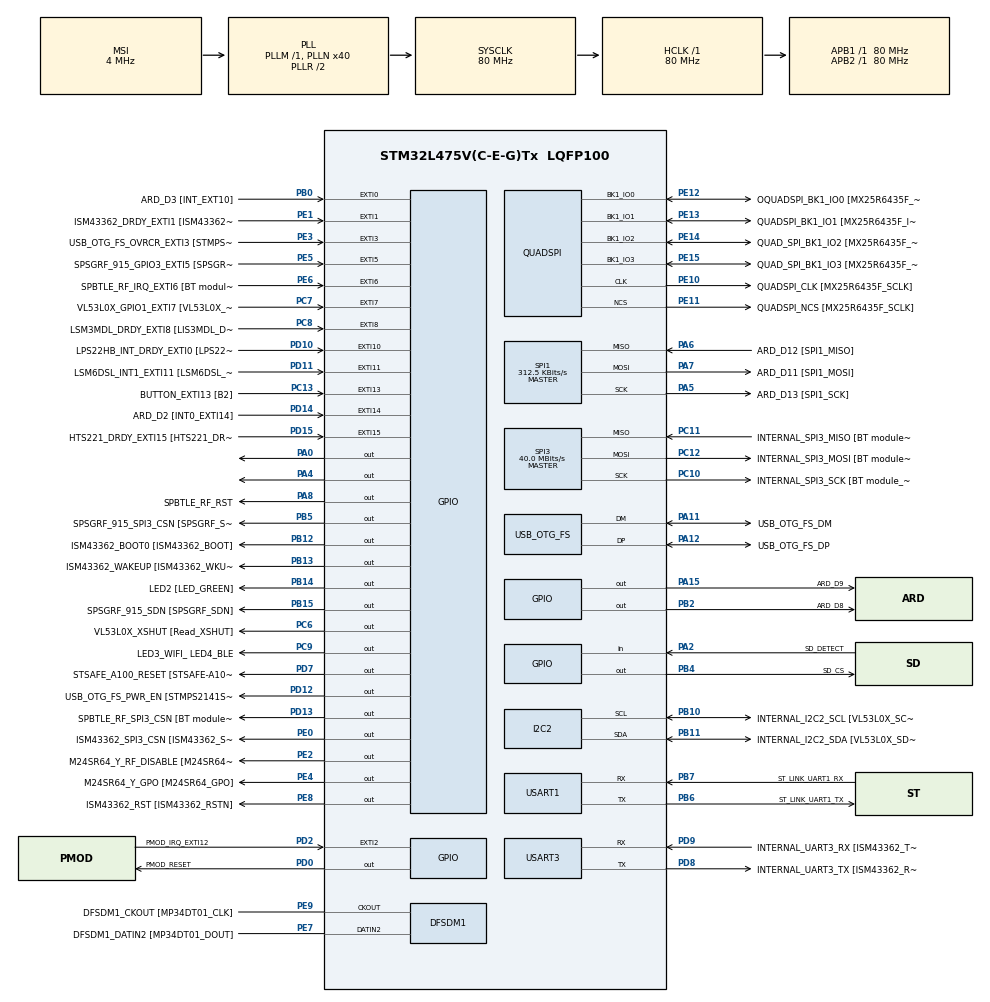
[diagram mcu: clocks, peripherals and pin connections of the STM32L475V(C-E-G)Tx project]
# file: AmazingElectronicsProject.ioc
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I2C2.Timing=0x10909CEC
Mcu.Family=STM32L4
Mcu.Name=STM32L475V(C-E-G)Tx
Mcu.Package=LQFP100
NVIC.EXTI15_10_IRQn=true\:0\:0\:false\:false\:true\:true\:true
NVIC.EXTI9_5_IRQn=true\:0\:0\:false\:false\:true\:true\:true
NVIC.PriorityGroup=NVIC_PRIORITYGROUP_4
PA0.Signal=GPIO_Output
PA1.GPIO_Label=ARD_D0 [UART4_RX]
PA1.Signal=UART4_RX
PA10.GPIO_Label=USB_OTG_FS_ID
PA10.Signal=USB_OTG_FS_ID
PA11.GPIO_Label=USB_OTG_FS_DM
PA11.Mode=Device_Only
PA11.Signal=USB_OTG_FS_DM
PA12.GPIO_Label=USB_OTG_FS_DP
PA12.Mode=Device_Only
PA12.Signal=USB_OTG_FS_DP
PA13\ (JTMS-SWDIO).GPIO_Label=SYS_JTMS_SWDIO
PA13\ (JTMS-SWDIO).Mode=Serial_Wire
PA13\ (JTMS-SWDIO).Signal=SYS_JTMS-SWDIO
PA14\ (JTCK-SWCLK).GPIO_Label=SYS_JTCK_SWCLK
PA14\ (JTCK-SWCLK).Mode=Serial_Wire
PA14\ (JTCK-SWCLK).Signal=SYS_JTCK-SWCLK
PA15\ (JTDI).GPIO_Label=ARD_D9
PA15\ (JTDI).Signal=GPIO_Output
PA2.GPIO_Label=SD_DETECT
PA2.Signal=GPIO_Input
PA3.GPIO_Label=ARD_D4
PA3.Signal=S_TIM2_CH4
PA4.Signal=GPIO_Output
PA5.GPIO_Label=ARD_D13 [SPI1_SCK]
PA5.Mode=Full_Duplex_Master
PA5.Signal=SPI1_SCK
PA6.GPIO_Label=ARD_D12 [SPI1_MISO]
PA6.Mode=Full_Duplex_Master
PA6.Signal=SPI1_MISO
PA7.GPIO_Label=ARD_D11 [SPI1_MOSI]
PA7.Mode=Full_Duplex_Master
PA7.Signal=SPI1_MOSI
PA8.GPIO_Label=SPBTLE_RF_RST
PA8.Signal=GPIO_Output
PA9.GPIO_Label=USB_OTG_FS_VBUS [STMPS2141STR_OUT]
PA9.Signal=USB_OTG_FS_VBUS
PB0.GPIO_Label=ARD_D3 [INT_EXT10]
PB0.Signal=GPXTI0
PB1.GPIO_Label=ARD_D6 [ADC1_IN6]
PB1.Signal=ADCx_IN16
PB10.GPIO_Label=INTERNAL_I2C2_SCL [VL53L0X_SCL]
PB10.GPIO_Pu=GPIO_PULLUP
PB10.Mode=I2C
PB10.Signal=I2C2_SCL
PB11.GPIO_Label=INTERNAL_I2C2_SDA [VL53L0X_SDA]
PB11.GPIO_Pu=GPIO_PULLUP
PB11.Mode=I2C
PB11.Signal=I2C2_SDA
PB12.GPIO_Label=ISM43362_BOOT0 [ISM43362_BOOT]
PB12.Signal=GPIO_Output
PB13.GPIO_Label=ISM43362_WAKEUP [ISM43362_WKUP]
PB13.Signal=GPIO_Output
PB14.GPIO_Label=LED2 [LED_GREEN]
PB14.Signal=GPIO_Output
PB15.GPIO_Label=SPSGRF_915_SDN [SPSGRF_SDN]
PB15.Signal=GPIO_Output
PB2.GPIO_Label=ARD_D8
PB2.Signal=GPIO_Output
PB3\ (JTDO-TRACESWO).GPIO_Label=SYS_JTD0_SWO
PB3\ (JTDO-TRACESWO).Signal=SYS_JTDO-SWO
PB4\ (NJTRST).GPIO_Label=SD_CS
PB4\ (NJTRST).Signal=GPIO_Output
PB5.GPIO_Label=SPSGRF_915_SPI3_CSN [SPSGRF_SPI_CS]
PB5.PinState=GPIO_PIN_SET
PB5.Signal=GPIO_Output
PB6.GPIO_Label=ST_LINK_UART1_TX
PB6.Mode=Asynchronous
PB6.Signal=USART1_TX
PB7.GPIO_Label=ST_LINK_UART1_RX
PB7.Mode=Asynchronous
PB7.Signal=USART1_RX
PB8.GPIO_Label=ARD_D15 [I2C1_SCL]
PB8.Signal=I2C1_SCL
PB9.GPIO_Label=ARD_D14 [I2C1_SDA]
PB9.Signal=I2C1_SDA
PC0.GPIO_Label=ARD_A5 [ADC]
PC0.Signal=ADCx_IN1
PC1.GPIO_Label=ARD_A4 [ADC]
PC1.Signal=ADCx_IN2
PC10.GPIO_Label=INTERNAL_SPI3_SCK [BT module_SPI_SCLK] [ISM43362_SCK]
PC10.Mode=Full_Duplex_Master
PC10.Signal=SPI3_SCK
PC11.GPIO_Label=INTERNAL_SPI3_MISO [BT module_SPI_MISO] [ISM43362_MISO]
PC11.Mode=Full_Duplex_Master
PC11.Signal=SPI3_MISO
PC12.GPIO_Label=INTERNAL_SPI3_MOSI [BT module_SPI_MOSI] [ISM43362_MOSI]
PC12.Mode=Full_Duplex_Master
PC12.Signal=SPI3_MOSI
PC13.GPIO_Label=BUTTON_EXTI13 [B2]
PC13.GPIO_ModeDefaultEXTI=GPIO_MODE_IT_FALLING
PC13.Signal=GPXTI13
PC14-OSC32_IN\ (PC14).Mode=LSE-External-Oscillator
PC14-OSC32_IN\ (PC14).Signal=RCC_OSC32_IN
PC15-OSC32_OUT\ (PC15).Mode=LSE-External-Oscillator
PC15-OSC32_OUT\ (PC15).Signal=RCC_OSC32_OUT
PC2.GPIO_Label=ARD_A3 [ADC]
PC2.Signal=ADCx_IN3
PC3.GPIO_Label=ARD_A2 [ADC]
PC3.Signal=ADCx_IN4
PC4.GPIO_Label=ARD_A1 [ADC]
PC4.Signal=ADCx_IN13
PC5.GPIO_Label=ARD_A0 [ADC]
PC5.Signal=ADCx_IN14
PC6.GPIO_Label=VL53L0X_XSHUT [Read_XSHUT]
PC6.Signal=GPIO_Output
PC7.GPIO_Label=VL53L0X_GPIO1_EXTI7 [VL53L0X_GPIO1]
PC7.Signal=GPXTI7
PC8.GPIO_Label=LSM3MDL_DRDY_EXTI8 [LIS3MDL_DRDY]
PC8.Signal=GPXTI8
PC9.GPIO_Label=LED3_WIFI_ LED4_BLE
PC9.Signal=GPIO_Output
PD0.GPIO_Label=PMOD_RESET
PD0.Signal=GPIO_Output
PD1.GPIO_Label=PMOD_SPI2_SCK
PD1.Signal=SPI2_SCK
PD10.GPIO_Label=LPS22HB_INT_DRDY_EXTI0 [LPS22HB_INT_DRDY] 
PD10.Signal=GPXTI10
PD11.GPIO_Label=LSM6DSL_INT1_EXTI11 [LSM6DSL_INT1]
PD11.Signal=GPXTI11
PD12.GPIO_Label=USB_OTG_FS_PWR_EN [STMPS2141STR_EN]
PD12.Signal=GPIO_Output
PD13.GPIO_Label=SPBTLE_RF_SPI3_CSN [BT module_SPI_CS]
PD13.PinState=GPIO_PIN_SET
PD13.Signal=GPIO_Output
PD14.GPIO_Label=ARD_D2 [INT0_EXTI14]
PD14.Signal=GPXTI14
PD15.GPIO_Label=HTS221_DRDY_EXTI15 [HTS221_DRDY]
PD15.Signal=GPXTI15
PD2.GPIO_Label=PMOD_IRQ_EXTI12
PD2.Signal=GPXTI2
PD3.GPIO_Label=PMOD_UART2_CTS
PD3.Signal=USART2_CTS
PD4.GPIO_Label=PMOD_UART2_RTS
PD4.Signal=USART2_RTS
PD5.GPIO_Label=PMOD_UART2_TX
PD5.Signal=USART2_TX
PD6.GPIO_Label=PMOD_UART2_RX
PD6.Signal=USART2_RX
PD7.GPIO_Label=STSAFE_A100_RESET [STSAFE-A100_RESET]
PD7.Signal=GPIO_Output
PD8.GPIO_Label=INTERNAL_UART3_TX [ISM43362_RX]
PD8.Mode=Asynchronous
PD8.Signal=USART3_TX
PD9.GPIO_Label=INTERNAL_UART3_RX [ISM43362_TX]
PD9.Mode=Asynchronous
PD9.Signal=USART3_RX
PE0.GPIO_Label=ISM43362_SPI3_CSN [ISM43362_SSN]
PE0.PinState=GPIO_PIN_SET
PE0.Signal=GPIO_Output
PE1.GPIO_Label=ISM43362_DRDY_EXTI1 [ISM43362_DATARDY]
PE1.Signal=GPXTI1
PE10.GPIO_Label=QUADSPI_CLK [MX25R6435F_SCLK]
PE10.Mode=Single Bank
PE10.Signal=QUADSPI_CLK
PE11.GPIO_Label=QUADSPI_NCS [MX25R6435F_SCLK]
PE11.Mode=Single Bank
PE11.Signal=QUADSPI_NCS
PE12.GPIO_Label=OQUADSPI_BK1_IO0 [MX25R6435F_IO0]
PE12.Mode=Single Bank
PE12.Signal=QUADSPI_BK1_IO0
PE13.GPIO_Label=QUADSPI_BK1_IO1 [MX25R6435F_IO1]
PE13.Mode=Single Bank
PE13.Signal=QUADSPI_BK1_IO1
PE14.GPIO_Label=QUAD_SPI_BK1_IO2 [MX25R6435F_IO2]
PE14.Mode=Single Bank
PE14.Signal=QUADSPI_BK1_IO2
PE15.GPIO_Label=QUAD_SPI_BK1_IO3 [MX25R6435F_IO3]
PE15.Mode=Single Bank
PE15.Signal=QUADSPI_BK1_IO3
PE2.GPIO_Label=M24SR64_Y_RF_DISABLE [M24SR64_RFDIS]
PE2.Signal=GPIO_Output
PE3.GPIO_Label=USB_OTG_FS_OVRCR_EXTI3 [STMPS2141STR_FAULT]
PE3.Signal=GPXTI3
PE4.GPIO_Label=M24SR64_Y_GPO [M24SR64_GPO]
PE4.Signal=GPIO_Output
PE5.GPIO_Label=SPSGRF_915_GPIO3_EXTI5 [SPSGRF_GPIO_3]
PE5.Signal=GPXTI5
PE6.GPIO_Label=SPBTLE_RF_IRQ_EXTI6 [BT module_SPI_IRQ]
PE6.Signal=GPXTI6
PE7.GPIO_Label=DFSDM1_DATIN2 [MP34DT01_DOUT]
PE7.Signal=S_DATAIN2DFSDM1
PE8.GPIO_Label=ISM43362_RST [ISM43362_RSTN]
PE8.Signal=GPIO_Output
PE9.GPIO_Label=DFSDM1_CKOUT [MP34DT01_CLK]
PE9.Signal=S_CKOUTDFSDM1
ProjectManager.HeapSize=0x200
ProjectManager.StackSize=0x400
ProjectManager.TargetToolchain=STM32CubeIDE
QUADSPI.ClockPrescaler=2
QUADSPI.FifoThreshold=4
QUADSPI.FlashSize=23
QUADSPI.SampleShifting=QSPI_SAMPLE_SHIFTING_HALFCYCLE
RCC.ADCFreq_Value=48000000
RCC.AHBFreq_Value=80000000
RCC.APB1Freq_Value=80000000
RCC.APB1TimFreq_Value=80000000
RCC.APB2Freq_Value=80000000
RCC.APB2TimFreq_Value=80000000
RCC.CortexFreq_Value=80000000
RCC.HCLKFreq_Value=80000000
RCC.HSE_VALUE=8000000
RCC.HSI_VALUE=16000000
RCC.MSI_VALUE=4000000
RCC.PLLN=40
RCC.PLLSAI1N=24
RCC.SYSCLKFreq_VALUE=80000000
RCC.SYSCLKSource=RCC_SYSCLKSOURCE_PLLCLK
RCC.USBFreq_Value=48000000
RCC.VCOOutputFreq_Value=160000000
SH.ADCx_IN1.0=ADC1_IN1
SH.ADCx_IN13.0=ADC1_IN13
SH.ADCx_IN14.0=ADC1_IN14
SH.ADCx_IN16.0=ADC1_IN16
SH.ADCx_IN2.0=ADC1_IN2
SH.ADCx_IN3.0=ADC1_IN3
SH.ADCx_IN4.0=ADC1_IN4
SH.S_CKOUTDFSDM1.0=DFSDM1_CKOUT,CKOUT
SH.S_CKOUTDFSDM1.1=DFSDM1_CKOUT,PDM_SPI_Input_from_ch12_and_Internal_Clock
SH.S_DATAIN2DFSDM1.0=DFSDM1_DATIN2,PDM_SPI_Input_from_ch12_and_Internal_Clock
SH.S_TIM2_CH4.0=TIM2_CH4
SPI1.BaudRatePrescaler=SPI_BAUDRATEPRESCALER_256
SPI1.CalculateBaudRate=312.5 KBits/s
SPI1.DataSize=SPI_DATASIZE_8BIT
SPI1.Direction=SPI_DIRECTION_2LINES
SPI1.Mode=SPI_MODE_MASTER
SPI1.VirtualType=VM_MASTER
SPI3.BaudRatePrescaler=SPI_BAUDRATEPRESCALER_2
SPI3.CalculateBaudRate=40.0 MBits/s
SPI3.DataSize=SPI_DATASIZE_4BIT
SPI3.Direction=SPI_DIRECTION_2LINES
SPI3.Mode=SPI_MODE_MASTER
SPI3.VirtualType=VM_MASTER
USART1.VirtualMode-Asynchronous=VM_ASYNC
USART3.VirtualMode-Asynchronous=VM_ASYNC
USB_OTG_FS.VirtualMode=Device_Only
VP_FATFS_VS_Generic.Mode=User_defined
board=B-L475E-IOT01A1

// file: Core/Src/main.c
/* USER CODE BEGIN Header */
/**
  ******************************************************************************
  * @file           : main.c
  * @brief          : Main program body
  ******************************************************************************
  * @attention
  *
  * <h2><center>&copy; Copyright (c) 2021 STMicroelectronics.
  * All rights reserved.</center></h2>
  *
  * This software component is licensed by ST under BSD 3-Clause license,
  * the "License"; You may not use this file except in compliance with the
  * License. You may obtain a copy of the License at:
  *                        opensource.org/licenses/BSD-3-Clause
  *
  ******************************************************************************
  */
/* USER CODE END Header */
#include "main.h"
#include "fatfs.h"

/* USER CODE BEGIN Includes */
#include "stm32l475e_iot01.h"
#include <stdio.h>
#include "game.h"
/* USER CODE END Includes */

/* USER CODE BEGIN PM */
#ifdef __GNUC__
/* With GCC/RAISONANCE, small msg_info (option LD Linker->Libraries->Small msg_info
   set to 'Yes') calls __io_putchar() */
#define PUTCHAR_PROTOTYPE int __io_putchar(int ch)
#define GETCHAR_PROTOTYPE int __io_getchar(void)
#else
#define PUTCHAR_PROTOTYPE int fputc(int ch, FILE *f)
#define GETCHAR_PROTOTYPE int fgetc(FILE *f)
#endif /* __GNUC__ */
/* USER CODE END PM */

DFSDM_Channel_HandleTypeDef hdfsdm1_channel1;

I2C_HandleTypeDef hi2c2;

QSPI_HandleTypeDef hqspi;

SPI_HandleTypeDef hspi1;
SPI_HandleTypeDef hspi3;

UART_HandleTypeDef huart1;
UART_HandleTypeDef huart3;

PCD_HandleTypeDef hpcd_USB_OTG_FS;

void SystemClock_Config(void);
static void MX_GPIO_Init(void);
static void MX_DFSDM1_Init(void);
static void MX_I2C2_Init(void);
static void MX_QUADSPI_Init(void);
static void MX_SPI3_Init(void);
static void MX_USART1_UART_Init(void);
static void MX_USART3_UART_Init(void);
static void MX_USB_OTG_FS_PCD_Init(void);
static void MX_SPI1_Init(void);

int main(void)
{

  /* MCU Configuration--------------------------------------------------------*/

  /* Reset of all peripherals, Initializes the Flash interface and the Systick. */
  HAL_Init();

  /* Configure the system clock */
  SystemClock_Config();

  /* Initialize all configured peripherals */
  MX_GPIO_Init();
  MX_DFSDM1_Init();
  MX_I2C2_Init();
  MX_QUADSPI_Init();
  MX_SPI3_Init();
  MX_USART1_UART_Init();
  MX_USART3_UART_Init();
  MX_USB_OTG_FS_PCD_Init();
  MX_FATFS_Init();
  MX_SPI1_Init();
  /* USER CODE BEGIN 2 */

  printf("\e[1;1H\e[2J");
/*
  printf("\r\n~ SD card demo by kiwih ~\r\n\r\n");

    HAL_Delay(3000); //a short delay is important to let the SD card settle

    //some variables for FatFs
    FATFS FatFs; 	//Fatfs handle
    FIL fil; 		//File handle
    FRESULT fres; //Result after operations

    //Open the file system
    fres = f_mount(&FatFs, "", 1); //1=mount now
    if (fres != FR_OK) {
  	printf("f_mount error (%i)\r\n", fres);
  	while(1);
    }

    //Let's get some statistics from the SD card
    DWORD free_clusters, free_sectors, total_sectors;

    FATFS* getFreeFs;

    fres = f_getfree("", &free_clusters, &getFreeFs);
    if (fres != FR_OK) {
  	printf("f_getfree error (%i)\r\n", fres);
  	while(1);
    }

    //Formula comes from ChaN's documentation
    total_sectors = (getFreeFs->n_fatent - 2) * getFreeFs->csize;
    free_sectors = free_clusters * getFreeFs->csize;

    printf("SD card stats:\r\n%10lu KiB total drive space.\r\n%10lu KiB available.\r\n", total_sectors / 2, free_sectors / 2);

    //Now let's try to open file "test.txt"
    fres = f_open(&fil, "test.txt", FA_READ);
    if (fres != FR_OK) {
  	printf("f_open error (%i)\r\n" ,fres);
  	while(1);
    }
    printf("I was able to open 'test.txt' for reading!\r\n");

    //Read 30 bytes from "test.txt" on the SD card
    BYTE readBuf[30];

    //We can either use f_read OR f_gets to get data out of files
    //f_gets is a wrapper on f_read that does some string formatting for us
    TCHAR* rres = f_gets((TCHAR*)readBuf, 30, &fil);
    if(rres != 0) {
  	printf("Read string from 'test.txt' contents: %s\r\n", readBuf);
    } else {
  	printf("f_gets error (%i)\r\n", fres);
    }

    //Be a tidy kiwi - don't forget to close your file!
    f_close(&fil);
*/

  if(initAllDevices() != 0){
	  printf("\rInitialization failure!\n");
  }

  runGame();

  /* USER CODE END 2 */

  /* Infinite loop */
  while (1)
  {

  }
}

void SystemClock_Config(void)
{
  RCC_OscInitTypeDef RCC_OscInitStruct = {0};
  RCC_ClkInitTypeDef RCC_ClkInitStruct = {0};

  /** Configure the main internal regulator output voltage
  */
  if (HAL_PWREx_ControlVoltageScaling(PWR_REGULATOR_VOLTAGE_SCALE1) != HAL_OK)
  {
    Error_Handler();
  }
  /** Configure LSE Drive Capability
  */
  HAL_PWR_EnableBkUpAccess();
  __HAL_RCC_LSEDRIVE_CONFIG(RCC_LSEDRIVE_LOW);
  /** Initializes the RCC Oscillators according to the specified parameters
  * in the RCC_OscInitTypeDef structure.
  */
  RCC_OscInitStruct.OscillatorType = RCC_OSCILLATORTYPE_LSE|RCC_OSCILLATORTYPE_MSI;
  RCC_OscInitStruct.LSEState = RCC_LSE_ON;
  RCC_OscInitStruct.MSIState = RCC_MSI_ON;
  RCC_OscInitStruct.MSICalibrationValue = 0;
  RCC_OscInitStruct.MSIClockRange = RCC_MSIRANGE_6;
  RCC_OscInitStruct.PLL.PLLState = RCC_PLL_ON;
  RCC_OscInitStruct.PLL.PLLSource = RCC_PLLSOURCE_MSI;
  RCC_OscInitStruct.PLL.PLLM = 1;
  RCC_OscInitStruct.PLL.PLLN = 40;
  RCC_OscInitStruct.PLL.PLLP = RCC_PLLP_DIV7;
  RCC_OscInitStruct.PLL.PLLQ = RCC_PLLQ_DIV2;
  RCC_OscInitStruct.PLL.PLLR = RCC_PLLR_DIV2;
  if (HAL_RCC_OscConfig(&RCC_OscInitStruct) != HAL_OK)
  {
    Error_Handler();
  }
  /** Initializes the CPU, AHB and APB buses clocks
  */
  RCC_ClkInitStruct.ClockType = RCC_CLOCKTYPE_HCLK|RCC_CLOCKTYPE_SYSCLK
                              |RCC_CLOCKTYPE_PCLK1|RCC_CLOCKTYPE_PCLK2;
  RCC_ClkInitStruct.SYSCLKSource = RCC_SYSCLKSOURCE_PLLCLK;
  RCC_ClkInitStruct.AHBCLKDivider = RCC_SYSCLK_DIV1;
  RCC_ClkInitStruct.APB1CLKDivider = RCC_HCLK_DIV1;
  RCC_ClkInitStruct.APB2CLKDivider = RCC_HCLK_DIV1;

  if (HAL_RCC_ClockConfig(&RCC_ClkInitStruct, FLASH_LATENCY_4) != HAL_OK)
  {
    Error_Handler();
  }
  /** Enable MSI Auto calibration
  */
  HAL_RCCEx_EnableMSIPLLMode();
}

static void MX_DFSDM1_Init(void)
{

  hdfsdm1_channel1.Instance = DFSDM1_Channel1;
  hdfsdm1_channel1.Init.OutputClock.Activation = ENABLE;
  hdfsdm1_channel1.Init.OutputClock.Selection = DFSDM_CHANNEL_OUTPUT_CLOCK_SYSTEM;
  hdfsdm1_channel1.Init.OutputClock.Divider = 2;
  hdfsdm1_channel1.Init.Input.Multiplexer = DFSDM_CHANNEL_EXTERNAL_INPUTS;
  hdfsdm1_channel1.Init.Input.DataPacking = DFSDM_CHANNEL_STANDARD_MODE;
  hdfsdm1_channel1.Init.Input.Pins = DFSDM_CHANNEL_FOLLOWING_CHANNEL_PINS;
  hdfsdm1_channel1.Init.SerialInterface.Type = DFSDM_CHANNEL_SPI_RISING;
  hdfsdm1_channel1.Init.SerialInterface.SpiClock = DFSDM_CHANNEL_SPI_CLOCK_INTERNAL;
  hdfsdm1_channel1.Init.Awd.FilterOrder = DFSDM_CHANNEL_FASTSINC_ORDER;
  hdfsdm1_channel1.Init.Awd.Oversampling = 1;
  hdfsdm1_channel1.Init.Offset = 0;
  hdfsdm1_channel1.Init.RightBitShift = 0x00;
  if (HAL_DFSDM_ChannelInit(&hdfsdm1_channel1) != HAL_OK)
  {
    Error_Handler();
  }

}

static void MX_I2C2_Init(void)
{

  hi2c2.Instance = I2C2;
  hi2c2.Init.Timing = 0x10909CEC;
  hi2c2.Init.OwnAddress1 = 0;
  hi2c2.Init.AddressingMode = I2C_ADDRESSINGMODE_7BIT;
  hi2c2.Init.DualAddressMode = I2C_DUALADDRESS_DISABLE;
  hi2c2.Init.OwnAddress2 = 0;
  hi2c2.Init.OwnAddress2Masks = I2C_OA2_NOMASK;
  hi2c2.Init.GeneralCallMode = I2C_GENERALCALL_DISABLE;
  hi2c2.Init.NoStretchMode = I2C_NOSTRETCH_DISABLE;
  if (HAL_I2C_Init(&hi2c2) != HAL_OK)
  {
    Error_Handler();
  }
  /** Configure Analogue filter
  */
  if (HAL_I2CEx_ConfigAnalogFilter(&hi2c2, I2C_ANALOGFILTER_ENABLE) != HAL_OK)
  {
    Error_Handler();
  }
  /** Configure Digital filter
  */
  if (HAL_I2CEx_ConfigDigitalFilter(&hi2c2, 0) != HAL_OK)
  {
    Error_Handler();
  }

}

static void MX_QUADSPI_Init(void)
{

  /* QUADSPI parameter configuration*/
  hqspi.Instance = QUADSPI;
  hqspi.Init.ClockPrescaler = 2;
  hqspi.Init.FifoThreshold = 4;
  hqspi.Init.SampleShifting = QSPI_SAMPLE_SHIFTING_HALFCYCLE;
  hqspi.Init.FlashSize = 23;
  hqspi.Init.ChipSelectHighTime = QSPI_CS_HIGH_TIME_1_CYCLE;
  hqspi.Init.ClockMode = QSPI_CLOCK_MODE_0;
  if (HAL_QSPI_Init(&hqspi) != HAL_OK)
  {
    Error_Handler();
  }

}

static void MX_SPI1_Init(void)
{

  /* SPI1 parameter configuration*/
  hspi1.Instance = SPI1;
  hspi1.Init.Mode = SPI_MODE_MASTER;
  hspi1.Init.Direction = SPI_DIRECTION_2LINES;
  hspi1.Init.DataSize = SPI_DATASIZE_8BIT;
  hspi1.Init.CLKPolarity = SPI_POLARITY_LOW;
  hspi1.Init.CLKPhase = SPI_PHASE_1EDGE;
  hspi1.Init.NSS = SPI_NSS_SOFT;
  hspi1.Init.BaudRatePrescaler = SPI_BAUDRATEPRESCALER_256;
  hspi1.Init.FirstBit = SPI_FIRSTBIT_MSB;
  hspi1.Init.TIMode = SPI_TIMODE_DISABLE;
  hspi1.Init.CRCCalculation = SPI_CRCCALCULATION_DISABLE;
  hspi1.Init.CRCPolynomial = 7;
  hspi1.Init.CRCLength = SPI_CRC_LENGTH_DATASIZE;
  hspi1.Init.NSSPMode = SPI_NSS_PULSE_ENABLE;
  if (HAL_SPI_Init(&hspi1) != HAL_OK)
  {
    Error_Handler();
  }

}

static void MX_SPI3_Init(void)
{

  /* SPI3 parameter configuration*/
  hspi3.Instance = SPI3;
  hspi3.Init.Mode = SPI_MODE_MASTER;
  hspi3.Init.Direction = SPI_DIRECTION_2LINES;
  hspi3.Init.DataSize = SPI_DATASIZE_4BIT;
  hspi3.Init.CLKPolarity = SPI_POLARITY_LOW;
  hspi3.Init.CLKPhase = SPI_PHASE_1EDGE;
  hspi3.Init.NSS = SPI_NSS_SOFT;
  hspi3.Init.BaudRatePrescaler = SPI_BAUDRATEPRESCALER_2;
  hspi3.Init.FirstBit = SPI_FIRSTBIT_MSB;
  hspi3.Init.TIMode = SPI_TIMODE_DISABLE;
  hspi3.Init.CRCCalculation = SPI_CRCCALCULATION_DISABLE;
  hspi3.Init.CRCPolynomial = 7;
  hspi3.Init.CRCLength = SPI_CRC_LENGTH_DATASIZE;
  hspi3.Init.NSSPMode = SPI_NSS_PULSE_ENABLE;
  if (HAL_SPI_Init(&hspi3) != HAL_OK)
  {
    Error_Handler();
  }

}

static void MX_USART1_UART_Init(void)
{

  huart1.Instance = USART1;
  huart1.Init.BaudRate = 115200;
  huart1.Init.WordLength = UART_WORDLENGTH_8B;
  huart1.Init.StopBits = UART_STOPBITS_1;
  huart1.Init.Parity = UART_PARITY_NONE;
  huart1.Init.Mode = UART_MODE_TX_RX;
  huart1.Init.HwFlowCtl = UART_HWCONTROL_NONE;
  huart1.Init.OverSampling = UART_OVERSAMPLING_16;
  huart1.Init.OneBitSampling = UART_ONE_BIT_SAMPLE_DISABLE;
  huart1.AdvancedInit.AdvFeatureInit = UART_ADVFEATURE_NO_INIT;
  if (HAL_UART_Init(&huart1) != HAL_OK)
  {
    Error_Handler();
  }

}

static void MX_USART3_UART_Init(void)
{

  huart3.Instance = USART3;
  huart3.Init.BaudRate = 115200;
  huart3.Init.WordLength = UART_WORDLENGTH_8B;
  huart3.Init.StopBits = UART_STOPBITS_1;
  huart3.Init.Parity = UART_PARITY_NONE;
  huart3.Init.Mode = UART_MODE_TX_RX;
  huart3.Init.HwFlowCtl = UART_HWCONTROL_NONE;
  huart3.Init.OverSampling = UART_OVERSAMPLING_16;
  huart3.Init.OneBitSampling = UART_ONE_BIT_SAMPLE_DISABLE;
  huart3.AdvancedInit.AdvFeatureInit = UART_ADVFEATURE_NO_INIT;
  if (HAL_UART_Init(&huart3) != HAL_OK)
  {
    Error_Handler();
  }

}

static void MX_USB_OTG_FS_PCD_Init(void)
{

  hpcd_USB_OTG_FS.Instance = USB_OTG_FS;
  hpcd_USB_OTG_FS.Init.dev_endpoints = 6;
  hpcd_USB_OTG_FS.Init.speed = PCD_SPEED_FULL;
  hpcd_USB_OTG_FS.Init.phy_itface = PCD_PHY_EMBEDDED;
  hpcd_USB_OTG_FS.Init.Sof_enable = DISABLE;
  hpcd_USB_OTG_FS.Init.low_power_enable = DISABLE;
  hpcd_USB_OTG_FS.Init.lpm_enable = DISABLE;
  hpcd_USB_OTG_FS.Init.battery_charging_enable = DISABLE;
  hpcd_USB_OTG_FS.Init.use_dedicated_ep1 = DISABLE;
  hpcd_USB_OTG_FS.Init.vbus_sensing_enable = DISABLE;
  if (HAL_PCD_Init(&hpcd_USB_OTG_FS) != HAL_OK)
  {
    Error_Handler();
  }

}

static void MX_GPIO_Init(void)
{
  GPIO_InitTypeDef GPIO_InitStruct = {0};

  /* GPIO Ports Clock Enable */
  __HAL_RCC_GPIOE_CLK_ENABLE();
  __HAL_RCC_GPIOC_CLK_ENABLE();
  __HAL_RCC_GPIOA_CLK_ENABLE();
  __HAL_RCC_GPIOB_CLK_ENABLE();
  __HAL_RCC_GPIOD_CLK_ENABLE();

  /*Configure GPIO pin Output Level */
  HAL_GPIO_WritePin(GPIOE, M24SR64_Y_RF_DISABLE_Pin|M24SR64_Y_GPO_Pin|ISM43362_RST_Pin, GPIO_PIN_RESET);

  /*Configure GPIO pin Output Level */
  HAL_GPIO_WritePin(GPIOA, GPIO_PIN_0|GPIO_PIN_4|SPBTLE_RF_RST_Pin|ARD_D9_Pin, GPIO_PIN_RESET);

  /*Configure GPIO pin Output Level */
  HAL_GPIO_WritePin(GPIOB, ARD_D8_Pin|ISM43362_BOOT0_Pin|ISM43362_WAKEUP_Pin|LED2_Pin
                          |SPSGRF_915_SDN_Pin|SD_CS_Pin, GPIO_PIN_RESET);

  /*Configure GPIO pin Output Level */
  HAL_GPIO_WritePin(GPIOD, USB_OTG_FS_PWR_EN_Pin|PMOD_RESET_Pin|STSAFE_A100_RESET_Pin, GPIO_PIN_RESET);

  /*Configure GPIO pin Output Level */
  HAL_GPIO_WritePin(SPBTLE_RF_SPI3_CSN_GPIO_Port, SPBTLE_RF_SPI3_CSN_Pin, GPIO_PIN_SET);

  /*Configure GPIO pin Output Level */
  HAL_GPIO_WritePin(GPIOC, VL53L0X_XSHUT_Pin|LED3_WIFI__LED4_BLE_Pin, GPIO_PIN_RESET);

  /*Configure GPIO pin Output Level */
  HAL_GPIO_WritePin(SPSGRF_915_SPI3_CSN_GPIO_Port, SPSGRF_915_SPI3_CSN_Pin, GPIO_PIN_SET);

  /*Configure GPIO pin Output Level */
  HAL_GPIO_WritePin(ISM43362_SPI3_CSN_GPIO_Port, ISM43362_SPI3_CSN_Pin, GPIO_PIN_SET);

  /*Configure GPIO pins : M24SR64_Y_RF_DISABLE_Pin M24SR64_Y_GPO_Pin ISM43362_RST_Pin ISM43362_SPI3_CSN_Pin */
  GPIO_InitStruct.Pin = M24SR64_Y_RF_DISABLE_Pin|M24SR64_Y_GPO_Pin|ISM43362_RST_Pin|ISM43362_SPI3_CSN_Pin;
  GPIO_InitStruct.Mode = GPIO_MODE_OUTPUT_PP;
  GPIO_InitStruct.Pull = GPIO_NOPULL;
  GPIO_InitStruct.Speed = GPIO_SPEED_FREQ_LOW;
  HAL_GPIO_Init(GPIOE, &GPIO_InitStruct);

  /*Configure GPIO pins : USB_OTG_FS_OVRCR_EXTI3_Pin SPSGRF_915_GPIO3_EXTI5_Pin SPBTLE_RF_IRQ_EXTI6_Pin ISM43362_DRDY_EXTI1_Pin */
  GPIO_InitStruct.Pin = USB_OTG_FS_OVRCR_EXTI3_Pin|SPSGRF_915_GPIO3_EXTI5_Pin|SPBTLE_RF_IRQ_EXTI6_Pin|ISM43362_DRDY_EXTI1_Pin;
  GPIO_InitStruct.Mode = GPIO_MODE_IT_RISING;
  GPIO_InitStruct.Pull = GPIO_NOPULL;
  HAL_GPIO_Init(GPIOE, &GPIO_InitStruct);

  /*Configure GPIO pin : BUTTON_EXTI13_Pin */
  GPIO_InitStruct.Pin = BUTTON_EXTI13_Pin;
  GPIO_InitStruct.Mode = GPIO_MODE_IT_FALLING;
  GPIO_InitStruct.Pull = GPIO_NOPULL;
  HAL_GPIO_Init(BUTTON_EXTI13_GPIO_Port, &GPIO_InitStruct);

  /*Configure GPIO pins : ARD_A5_Pin ARD_A4_Pin ARD_A3_Pin ARD_A2_Pin
                           ARD_A1_Pin ARD_A0_Pin */
  GPIO_InitStruct.Pin = ARD_A5_Pin|ARD_A4_Pin|ARD_A3_Pin|ARD_A2_Pin
                          |ARD_A1_Pin|ARD_A0_Pin;
  GPIO_InitStruct.Mode = GPIO_MODE_ANALOG_ADC_CONTROL;
  GPIO_InitStruct.Pull = GPIO_NOPULL;
  HAL_GPIO_Init(GPIOC, &GPIO_InitStruct);

  /*Configure GPIO pins : PA0 PA4 SPBTLE_RF_RST_Pin ARD_D9_Pin */
  GPIO_InitStruct.Pin = GPIO_PIN_0|GPIO_PIN_4|SPBTLE_RF_RST_Pin|ARD_D9_Pin;
  GPIO_InitStruct.Mode = GPIO_MODE_OUTPUT_PP;
  GPIO_InitStruct.Pull = GPIO_NOPULL;
  GPIO_InitStruct.Speed = GPIO_SPEED_FREQ_LOW;
  HAL_GPIO_Init(GPIOA, &GPIO_InitStruct);

  /*Configure GPIO pin : ARD_D0_Pin */
  GPIO_InitStruct.Pin = ARD_D0_Pin;
  GPIO_InitStruct.Mode = GPIO_MODE_AF_PP;
  GPIO_InitStruct.Pull = GPIO_NOPULL;
  GPIO_InitStruct.Speed = GPIO_SPEED_FREQ_VERY_HIGH;
  GPIO_InitStruct.Alternate = GPIO_AF8_UART4;
  HAL_GPIO_Init(ARD_D0_GPIO_Port, &GPIO_InitStruct);

  /*Configure GPIO pin : SD_DETECT_Pin */
  GPIO_InitStruct.Pin = SD_DETECT_Pin;
  GPIO_InitStruct.Mode = GPIO_MODE_INPUT;
  GPIO_InitStruct.Pull = GPIO_NOPULL;
  HAL_GPIO_Init(SD_DETECT_GPIO_Port, &GPIO_InitStruct);

  /*Configure GPIO pin : ARD_D4_Pin */
  GPIO_InitStruct.Pin = ARD_D4_Pin;
  GPIO_InitStruct.Mode = GPIO_MODE_AF_PP;
  GPIO_InitStruct.Pull = GPIO_NOPULL;
  GPIO_InitStruct.Speed = GPIO_SPEED_FREQ_LOW;
  GPIO_InitStruct.Alternate = GPIO_AF1_TIM2;
  HAL_GPIO_Init(ARD_D4_GPIO_Port, &GPIO_InitStruct);

  /*Configure GPIO pin : ARD_D3_Pin */
  GPIO_InitStruct.Pin = ARD_D3_Pin;
  GPIO_InitStruct.Mode = GPIO_MODE_IT_RISING;
  GPIO_InitStruct.Pull = GPIO_NOPULL;
  HAL_GPIO_Init(ARD_D3_GPIO_Port, &GPIO_InitStruct);

  /*Configure GPIO pin : ARD_D6_Pin */
  GPIO_InitStruct.Pin = ARD_D6_Pin;
  GPIO_InitStruct.Mode = GPIO_MODE_ANALOG_ADC_CONTROL;
  GPIO_InitStruct.Pull = GPIO_NOPULL;
  HAL_GPIO_Init(ARD_D6_GPIO_Port, &GPIO_InitStruct);

  /*Configure GPIO pins : ARD_D8_Pin ISM43362_BOOT0_Pin ISM43362_WAKEUP_Pin LED2_Pin
                           SPSGRF_915_SDN_Pin SD_CS_Pin SPSGRF_915_SPI3_CSN_Pin */
  GPIO_InitStruct.Pin = ARD_D8_Pin|ISM43362_BOOT0_Pin|ISM43362_WAKEUP_Pin|LED2_Pin
                          |SPSGRF_915_SDN_Pin|SD_CS_Pin|SPSGRF_915_SPI3_CSN_Pin;
  GPIO_InitStruct.Mode = GPIO_MODE_OUTPUT_PP;
  GPIO_InitStruct.Pull = GPIO_NOPULL;
  GPIO_InitStruct.Speed = GPIO_SPEED_FREQ_LOW;
  HAL_GPIO_Init(GPIOB, &GPIO_InitStruct);

  /*Configure GPIO pins : LPS22HB_INT_DRDY_EXTI0_Pin LSM6DSL_INT1_EXTI11_Pin ARD_D2_Pin HTS221_DRDY_EXTI15_Pin
                           PMOD_IRQ_EXTI12_Pin */
  GPIO_InitStruct.Pin = LPS22HB_INT_DRDY_EXTI0_Pin|LSM6DSL_INT1_EXTI11_Pin|ARD_D2_Pin|HTS221_DRDY_EXTI15_Pin
                          |PMOD_IRQ_EXTI12_Pin;
  GPIO_InitStruct.Mode = GPIO_MODE_IT_RISING;
  GPIO_InitStruct.Pull = GPIO_NOPULL;
  HAL_GPIO_Init(GPIOD, &GPIO_InitStruct);

  /*Configure GPIO pins : USB_OTG_FS_PWR_EN_Pin SPBTLE_RF_SPI3_CSN_Pin PMOD_RESET_Pin STSAFE_A100_RESET_Pin */
  GPIO_InitStruct.Pin = USB_OTG_FS_PWR_EN_Pin|SPBTLE_RF_SPI3_CSN_Pin|PMOD_RESET_Pin|STSAFE_A100_RESET_Pin;
  GPIO_InitStruct.Mode = GPIO_MODE_OUTPUT_PP;
  GPIO_InitStruct.Pull = GPIO_NOPULL;
  GPIO_InitStruct.Speed = GPIO_SPEED_FREQ_LOW;
  HAL_GPIO_Init(GPIOD, &GPIO_InitStruct);

  /*Configure GPIO pins : VL53L0X_XSHUT_Pin LED3_WIFI__LED4_BLE_Pin */
  GPIO_InitStruct.Pin = VL53L0X_XSHUT_Pin|LED3_WIFI__LED4_BLE_Pin;
  GPIO_InitStruct.Mode = GPIO_MODE_OUTPUT_PP;
  GPIO_InitStruct.Pull = GPIO_NOPULL;
  GPIO_InitStruct.Speed = GPIO_SPEED_FREQ_LOW;
  HAL_GPIO_Init(GPIOC, &GPIO_InitStruct);

  /*Configure GPIO pins : VL53L0X_GPIO1_EXTI7_Pin LSM3MDL_DRDY_EXTI8_Pin */
  GPIO_InitStruct.Pin = VL53L0X_GPIO1_EXTI7_Pin|LSM3MDL_DRDY_EXTI8_Pin;
  GPIO_InitStruct.Mode = GPIO_MODE_IT_RISING;
  GPIO_InitStruct.Pull = GPIO_NOPULL;
  HAL_GPIO_Init(GPIOC, &GPIO_InitStruct);

  /*Configure GPIO pin : PMOD_SPI2_SCK_Pin */
  GPIO_InitStruct.Pin = PMOD_SPI2_SCK_Pin;
  GPIO_InitStruct.Mode = GPIO_MODE_AF_PP;
  GPIO_InitStruct.Pull = GPIO_NOPULL;
  GPIO_InitStruct.Speed = GPIO_SPEED_FREQ_VERY_HIGH;
  GPIO_InitStruct.Alternate = GPIO_AF5_SPI2;
  HAL_GPIO_Init(PMOD_SPI2_SCK_GPIO_Port, &GPIO_InitStruct);

  /*Configure GPIO pins : PMOD_UART2_CTS_Pin PMOD_UART2_RTS_Pin PMOD_UART2_TX_Pin PMOD_UART2_RX_Pin */
  GPIO_InitStruct.Pin = PMOD_UART2_CTS_Pin|PMOD_UART2_RTS_Pin|PMOD_UART2_TX_Pin|PMOD_UART2_RX_Pin;
  GPIO_InitStruct.Mode = GPIO_MODE_AF_PP;
  GPIO_InitStruct.Pull = GPIO_NOPULL;
  GPIO_InitStruct.Speed = GPIO_SPEED_FREQ_VERY_HIGH;
  GPIO_InitStruct.Alternate = GPIO_AF7_USART2;
  HAL_GPIO_Init(GPIOD, &GPIO_InitStruct);

  /*Configure GPIO pins : ARD_D15_Pin ARD_D14_Pin */
  GPIO_InitStruct.Pin = ARD_D15_Pin|ARD_D14_Pin;
  GPIO_InitStruct.Mode = GPIO_MODE_AF_OD;
  GPIO_InitStruct.Pull = GPIO_NOPULL;
  GPIO_InitStruct.Speed = GPIO_SPEED_FREQ_VERY_HIGH;
  GPIO_InitStruct.Alternate = GPIO_AF4_I2C1;
  HAL_GPIO_Init(GPIOB, &GPIO_InitStruct);

  /* EXTI interrupt init*/
  HAL_NVIC_SetPriority(EXTI9_5_IRQn, 0, 0);
  HAL_NVIC_EnableIRQ(EXTI9_5_IRQn);

  HAL_NVIC_SetPriority(EXTI15_10_IRQn, 0, 0);
  HAL_NVIC_EnableIRQ(EXTI15_10_IRQn);

}

/* USER CODE BEGIN 4 */
PUTCHAR_PROTOTYPE
{
  /* Place your implementation of fputc here */
  /* e.g. write a character to the serial port and Loop until the end of transmission */
  while (HAL_OK != HAL_UART_Transmit(&huart1, (uint8_t *) &ch, 1, 30000))
  {
    ;
  }
  return ch;
}

/**
  * @brief Retargets the C library scanf function to the USART.
  * @param None
  * @retval None
  */
GETCHAR_PROTOTYPE
{
  /* Place your implementation of fgetc here */
  /* e.g. readwrite a character to the USART2 and Loop until the end of transmission */
  uint8_t ch = 0;
  while (HAL_OK != HAL_UART_Receive(&huart1, (uint8_t *)&ch, 1, 30000))
  {
    ;
  }
  return ch;
}
/* USER CODE END 4 */

void Error_Handler(void)
{
  __disable_irq();
  while (1)
  {
  }
}

/************************ (C) COPYRIGHT STMicroelectronics *****END OF FILE****/
